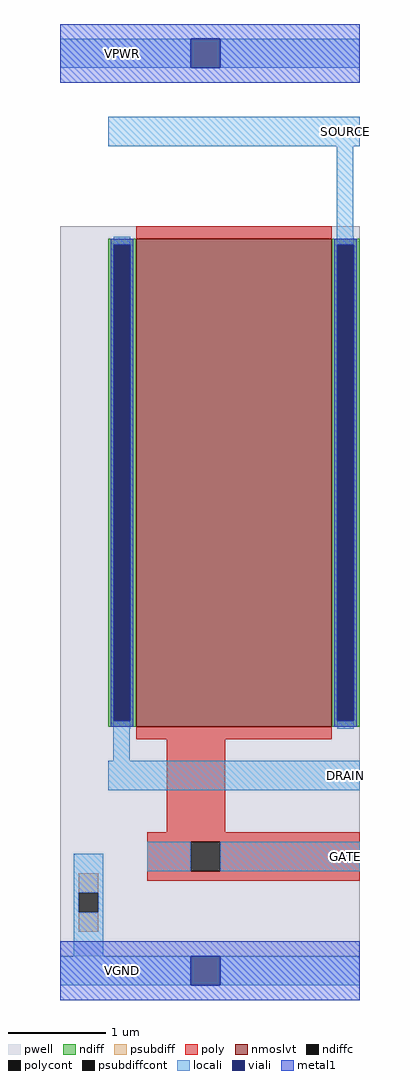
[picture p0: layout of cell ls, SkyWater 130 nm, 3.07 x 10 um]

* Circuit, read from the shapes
.subckt ls GATE SOURCE DRAIN VPWR VGND
XM1 SOURCE GATE DRAIN VGND sky130_fd_pr__nfet_01v8_lvt w=5 l=2
.ends

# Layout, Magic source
magic
tech sky130A
magscale 1 2
<< pwell >>
rect 120 30 734 1526
<< nmoslvt >>
rect 276 500 676 1500
<< ndiff >>
rect 218 1488 276 1500
rect 218 512 230 1488
rect 264 512 276 1488
rect 218 500 276 512
rect 676 1488 734 1500
rect 676 512 688 1488
rect 722 512 734 1488
rect 676 500 734 512
<< ndiffc >>
rect 230 512 264 1488
rect 688 512 722 1488
<< psubdiff >>
rect 158 160 198 200
rect 158 80 198 120
<< psubdiffcont >>
rect 158 120 198 160
<< poly >>
rect 276 1500 676 1526
rect 276 474 676 500
rect 338 284 458 474
rect 298 264 734 284
rect 298 204 388 264
rect 448 204 734 264
rect 298 184 734 204
<< polycont >>
rect 388 204 448 264
<< locali >>
rect 120 1850 388 1910
rect 448 1850 734 1910
rect 218 1690 734 1750
rect 687 1504 721 1690
rect 230 1488 264 1504
rect 229 512 230 554
rect 687 1488 722 1504
rect 687 1486 688 1488
rect 229 496 264 512
rect 688 496 722 512
rect 229 430 263 496
rect 218 370 734 430
rect 148 160 208 240
rect 298 204 388 264
rect 448 204 734 264
rect 148 120 158 160
rect 198 120 208 160
rect 148 30 208 120
rect 120 -30 388 30
rect 448 -30 734 30
<< viali >>
rect 388 1850 448 1910
rect 230 512 264 1488
rect 688 512 722 1488
rect 388 -30 448 30
<< metal1 >>
rect 120 1910 734 1940
rect 120 1850 388 1910
rect 448 1850 734 1910
rect 120 1820 734 1850
rect 224 1488 270 1500
rect 224 512 230 1488
rect 264 512 270 1488
rect 224 500 270 512
rect 682 1488 728 1500
rect 682 512 688 1488
rect 722 512 728 1488
rect 682 500 728 512
rect 120 30 734 60
rect 120 -30 388 30
rect 448 -30 734 30
rect 120 -60 734 -30
<< labels >>
flabel metal1 218 1850 278 1910 1 FreeSans 800 0 0 0 VPWR
port 4 n power bidirectional
flabel metal1 218 -30 278 30 1 FreeSans 800 0 0 0 VGND
port 5 n ground bidirectional
flabel locali 674 1690 734 1750 1 FreeSans 800 0 0 0 SOURCE
port 2 n default bidirectional
flabel locali 674 370 734 430 1 FreeSans 800 0 0 0 DRAIN
port 3 n default bidirectional
flabel locali 674 204 734 264 1 FreeSans 800 0 0 0 GATE
port 1 n default bidirectional
<< properties >>
string FIXED_BBOX 0 0 854 1880
string LEFclass CORE
string LEFsite unitasc
<< end >>
